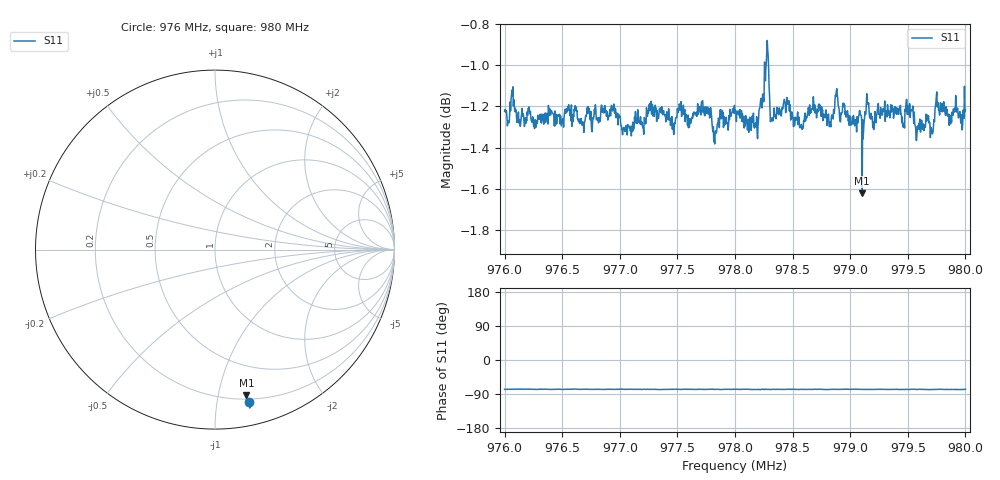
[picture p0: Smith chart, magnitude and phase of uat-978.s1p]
! Calibrated averaged scanner-service zoom
# Hz S RI R 50
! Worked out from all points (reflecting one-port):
!   1001 points, 976 MHz to 980 MHz, reference 50 ohm
!   lowest |S11| = -1.6 dB at 979.104 MHz (marker M1), VSWR 10.74, Z = 11.7 - j60.6 ohm
!   phase of S11 starts at -77 deg and turns +0 deg over the sweep
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9.76e8  0.1909 -0.8473
9.76068e8  0.1931 -0.8546
9.76132e8  0.1966 -0.8418
9.765e8  0.1856 -0.8437
9.76608e8  0.1992 -0.8456
9.76652e8  0.1906 -0.8413
9.77e8  0.1963 -0.8431
9.7734e8  0.1805 -0.8486
9.775e8  0.1889 -0.8492
9.77728e8  0.1891 -0.8501
9.77824e8  0.1843 -0.8327
9.78e8  0.1922 -0.846
9.78184e8  0.1842 -0.8409
9.78276e8  0.1959 -0.8761
9.78324e8  0.1901 -0.8442
9.785e8  0.187 -0.8451
9.78736e8  0.1936 -0.85
9.78788e8  0.1817 -0.8501
9.78884e8  0.1901 -0.8589
9.79e8  0.1888 -0.8419
9.79104e8  0.1755 -0.8109
9.79144e8  0.1876 -0.8569
9.795e8  0.1865 -0.8512
9.79592e8  0.1884 -0.8408
9.79692e8  0.1802 -0.8438
9.79756e8  0.1902 -0.8497
9.79948e8  0.1789 -0.8488
9.8e8  0.1919 -0.848
